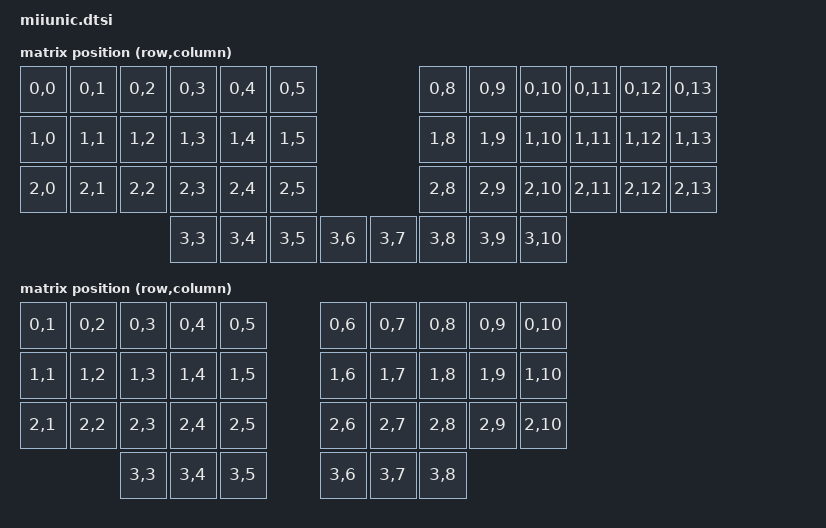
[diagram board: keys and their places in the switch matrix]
#include "miiunic-layouts.dtsi"
#include <dt-bindings/zmk/matrix_transform.h>

/ {
    matrix_transform0: matrix_transform0 {
        compatible = "zmk,matrix-transform";
        columns = <14>;
        rows = <4>;
        map = <
// | SW1  | SW2  | SW3  | SW4  | SW5  | SW6  |   | SW6  | SW5  | SW4  | SW3  | SW2  | SW1  |
// | SW7  | SW8  | SW9  | SW10 | SW11 | SW12 |   | SW12 | SW11 | SW10 | SW9  | SW8  | SW7  |
// | SW13 | SW14 | SW15 | SW16 | SW17 | SW18 |   | SW18 | SW17 | SW16 | SW15 | SW14 | SW13 |
//                      | SW19 | SW20 | SW21 |   | SW21 | SW20 | SW19 |
        map = <
RC(0,0) RC(0,1) RC(0,2) RC(0,3) RC(0,4) RC(0,5)                  RC(0,8) RC(0,9) RC(0,10) RC(0,11) RC(0,12) RC(0,13)
RC(1,0) RC(1,1) RC(1,2) RC(1,3) RC(1,4) RC(1,5)                  RC(1,8) RC(1,9) RC(1,10) RC(1,11) RC(1,12) RC(1,13)
RC(2,0) RC(2,1) RC(2,2) RC(2,3) RC(2,4) RC(2,5)                  RC(2,8) RC(2,9) RC(2,10) RC(2,11) RC(2,12) RC(2,13)
                        RC(3,3) RC(3,4) RC(3,5) RC(3,6)  RC(3,7) RC(3,8) RC(3,9) RC(3,10)
        >;
    };

    five_column_transform: keymap_transform_1 {
        compatible = "zmk,matrix-transform";
        columns = <10>;
        rows = <4>;
// | SW2  | SW3  | SW4  | SW5  | SW6  |   | SW6  | SW5  | SW4  | SW3  | SW2  |
// | SW8  | SW9  | SW10 | SW11 | SW12 |   | SW12 | SW11 | SW10 | SW9  | SW8  |
// | SW14 | SW15 | SW16 | SW17 | SW18 |   | SW18 | SW17 | SW16 | SW15 | SW14 |
//               | SW19 | SW20 | SW21 |   | SW21 | SW20 | SW19 |
        map = <
RC(0,1) RC(0,2) RC(0,3) RC(0,4) RC(0,5) RC(0,6)  RC(0,7) RC(0,8) RC(0,9) RC(0,10)
RC(1,1) RC(1,2) RC(1,3) RC(1,4) RC(1,5) RC(1,6)  RC(1,7) RC(1,8) RC(1,9) RC(1,10)
RC(2,1) RC(2,2) RC(2,3) RC(2,4) RC(2,5) RC(2,6)  RC(2,7) RC(2,8) RC(2,9) RC(2,10)
                        RC(3,3) RC(3,4) RC(3,5)  RC(3,6) RC(3,7) RC(3,8)
        >;
    };
};

&physical_layout_miiunic {
    transform = <&matrix_transform0>;
};

// Encoders for all parts of the keyboard.
// If the encoder(s) are not behaving as expected,
// update steps and triggers-per-rotation to match your hardware.
// All pin assignments are done in the part overlays.

/ {
    encoder_left0: encoder_left0 {
        compatible = "alps,ec11";
        steps = <80>;
        status = "disabled";
    };
    encoder_right0: encoder_right0 {
        compatible = "alps,ec11";
        steps = <80>;
        status = "disabled";
    };

    sensors: sensors {
        compatible = "zmk,keymap-sensors";
        sensors = <&encoder_left0 &encoder_right0>;
        triggers-per-rotation = <20>;
    };
};

// Input devices
/ {
    split_inputs {
        #address-cells = <1>;
        #size-cells = <0>;

        input_split_right0: input_split_right0@0 {
            compatible = "zmk,input-split";
            reg = <0>;
            status = "disabled";
        };
    };

    input_listener_right0: input_listener_right0 {
        compatible = "zmk,input-listener";
        status = "disabled";
        device = <&input_split_right0>;
    };
};

